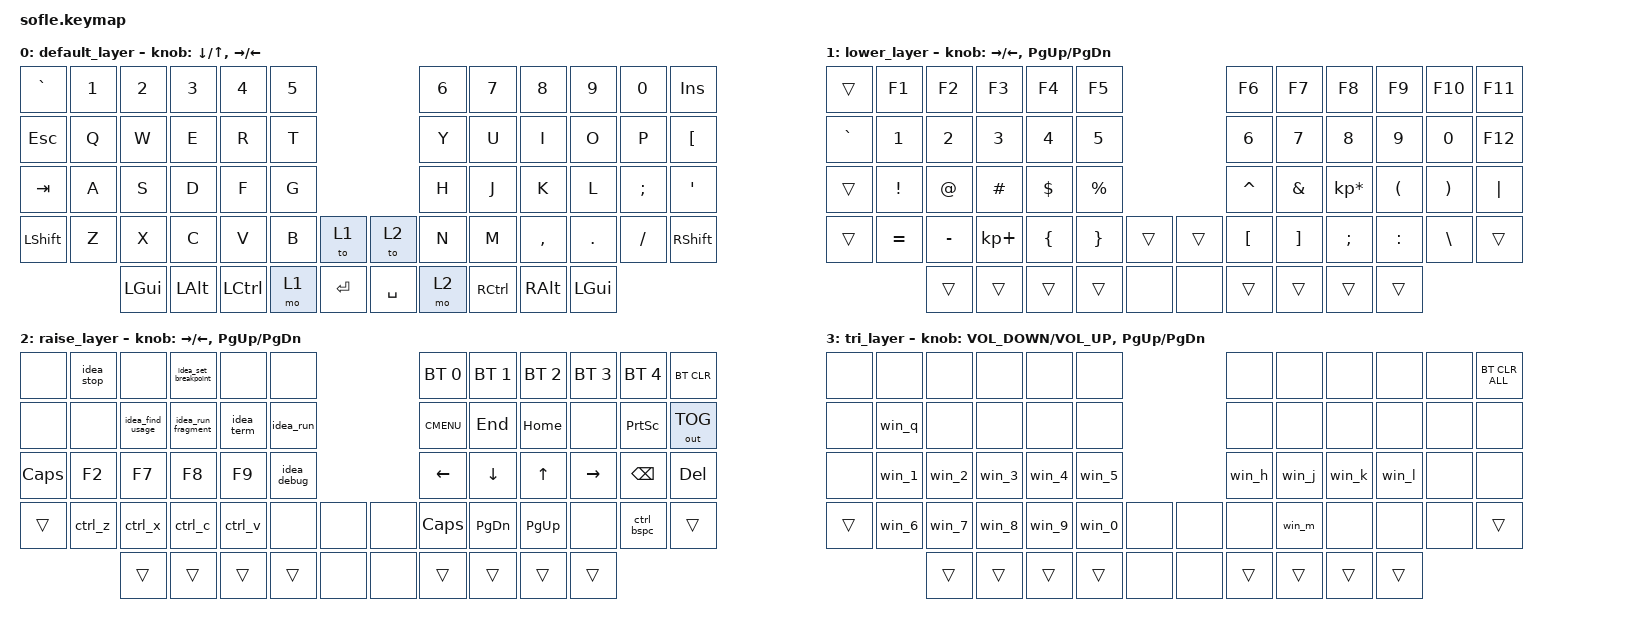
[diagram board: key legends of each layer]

 /*
 * Copyright (c) 2020 The ZMK Contributors
 *
 * SPDX-License-Identifier: MIT
 */

#include <behaviors.dtsi>
#include <dt-bindings/zmk/keys.h>
#include <dt-bindings/zmk/bt.h>
#include <dt-bindings/zmk/outputs.h>

&left_encoder { resolution = <8>; };
&right_encoder { resolution = <8>; };

/ {
    conditional_layers {
        compatible = "zmk,conditional-layers";
        tri_layer {
            if-layers = <1 2>;
            then-layer = <3>;
        };
    };
};

/ {
    macros {
        idea_debug: idea_debug {
                label = "IDEA_debug";
                compatible = "zmk,behavior-macro";
                #binding-cells = <0>;
                wait-ms = <40>;
                tap-ms = <40>;
                bindings
                    = <&macro_press &kp LSHFT>
                    , <&macro_press &kp LALT>
                    , <&macro_tap &kp F9>
                    , <&macro_release &kp LSHFT>
                    , <&macro_release &kp LALT>
                    ;
        };

        idea_run: idea_run {
                label = "IDEA_run";
                compatible = "zmk,behavior-macro";
                #binding-cells = <0>;
                wait-ms = <40>;
                tap-ms = <40>;
                bindings
                    = <&macro_press &kp LSHFT>
                    , <&macro_press &kp LALT>
                    , <&macro_tap &kp F10>
                    , <&macro_release &kp LSHFT>
                    , <&macro_release &kp LALT>
                    ;
        };

        idea_run_fragment: idea_run_fragment {
                label = "IDEA_run_fragment";
                compatible = "zmk,behavior-macro";
                #binding-cells = <0>;
                wait-ms = <40>;
                tap-ms = <40>;
                bindings
                    = <&macro_press &kp LALT>
                    , <&macro_tap &kp F8>
                    , <&macro_release &kp LALT>
                    ;
        };

        idea_set_breakpoint: idea_set_breakpoint {
                label = "IDEA_set_breakpoint";
                compatible = "zmk,behavior-macro";
                #binding-cells = <0>;
                wait-ms = <40>;
                tap-ms = <40>;
                bindings
                    = <&macro_press &kp LCTRL>
                    , <&macro_tap &kp F8>
                    , <&macro_release &kp LCTRL>
                    ;
        };

        idea_stop: idea_stop {
                label = "IDEA_stop";
                compatible = "zmk,behavior-macro";
                #binding-cells = <0>;
                wait-ms = <40>;
                tap-ms = <40>;
                bindings
                    = <&macro_press &kp LCTRL>
                    , <&macro_tap &kp F2>
                    , <&macro_release &kp LCTRL>
                    ;
        };

        idea_term: idea_term {
                label = "IDEA_term";
                compatible = "zmk,behavior-macro";
                #binding-cells = <0>;
                wait-ms = <40>;
                tap-ms = <40>;
                bindings
                    = <&macro_press &kp LALT>
                    , <&macro_tap &kp F12>
                    , <&macro_release &kp LALT>
                    ;
        };

         idea_find_usage: idea_find_usage {
                label = "IDEA_find_usage";
                compatible = "zmk,behavior-macro";
                #binding-cells = <0>;
                wait-ms = <40>;
                tap-ms = <40>;
                bindings
                    = <&macro_press &kp LALT>
                    , <&macro_tap &kp F7>
                    , <&macro_release &kp LALT>
                    ;
         };


        ctrl_z: ctrl_z {
                    label = "ctrl_z";
                    compatible = "zmk,behavior-macro";
                    #binding-cells = <0>;
                    wait-ms = <40>;
                    tap-ms = <40>;
                    bindings
                        = <&macro_press &kp LCTRL>
                        , <&macro_tap &kp Z>
                        , <&macro_release &kp LCTRL>
                        ;
        };


        ctrl_x: ctrl_x {
                    label = "ctrl_x";
                    compatible = "zmk,behavior-macro";
                    #binding-cells = <0>;
                    wait-ms = <40>;
                    tap-ms = <40>;
                    bindings
                        = <&macro_press &kp LCTRL>
                        , <&macro_tap &kp X>
                        , <&macro_release &kp LCTRL>
                        ;
        };


        ctrl_c: ctrl_c {
                    label = "ctrl_c";
                    compatible = "zmk,behavior-macro";
                    #binding-cells = <0>;
                    wait-ms = <40>;
                    tap-ms = <40>;
                    bindings
                        = <&macro_press &kp LCTRL>
                        , <&macro_tap &kp C>
                        , <&macro_release &kp LCTRL>
                        ;
        };


        ctrl_v: ctrl_v {
                    label = "ctrl_v";
                    compatible = "zmk,behavior-macro";
                    #binding-cells = <0>;
                    wait-ms = <40>;
                    tap-ms = <40>;
                    bindings
                        = <&macro_press &kp LCTRL>
                        , <&macro_tap &kp V>
                        , <&macro_release &kp LCTRL>
                        ;
        };

        ctrl_bspc: ctrl_bspc {
                    label = "ctrl_bspc";
                    compatible = "zmk,behavior-macro";
                    #binding-cells = <0>;
                    wait-ms = <40>;
                    tap-ms = <40>;
                    bindings
                        = <&macro_press &kp LCTRL>
                        , <&macro_tap &kp  BSPC>
                        , <&macro_release &kp LCTRL>
                        ;
        };

        ctrl_del: ctrl_del {
                    label = "ctrl_del";
                    compatible = "zmk,behavior-macro";
                    #binding-cells = <0>;
                    wait-ms = <40>;
                    tap-ms = <40>;
                    bindings
                        = <&macro_press &kp LCTRL>
                        , <&macro_tap &kp  DEL>
                        , <&macro_release &kp LCTRL>
                        ;
        };


        win_1: win_1 {
                    label = "win_1";
                    compatible = "zmk,behavior-macro";
                    #binding-cells = <0>;
                    wait-ms = <40>;
                    tap-ms = <40>;
                    bindings
                        = <&macro_press &kp LGUI>
                        , <&macro_tap &kp  N1>
                        , <&macro_release &kp LGUI>
                        ;
        };

        win_2: win_2 {
                    label = "win_2";
                    compatible = "zmk,behavior-macro";
                    #binding-cells = <0>;
                    wait-ms = <40>;
                    tap-ms = <40>;
                    bindings
                        = <&macro_press &kp LGUI>
                        , <&macro_tap &kp  N2>
                        , <&macro_release &kp LGUI>
                        ;
        };

        win_3: win_3 {
                    label = "win_3";
                    compatible = "zmk,behavior-macro";
                    #binding-cells = <0>;
                    wait-ms = <40>;
                    tap-ms = <40>;
                    bindings
                        = <&macro_press &kp LGUI>
                        , <&macro_tap &kp  N3>
                        , <&macro_release &kp LGUI>
                        ;
        };

        win_4: win_4 {
                    label = "win_4";
                    compatible = "zmk,behavior-macro";
                    #binding-cells = <0>;
                    wait-ms = <40>;
                    tap-ms = <40>;
                    bindings
                        = <&macro_press &kp LGUI>
                        , <&macro_tap &kp  N4>
                        , <&macro_release &kp LGUI>
                        ;
        };

        win_5: win_5 {
                    label = "win_5";
                    compatible = "zmk,behavior-macro";
                    #binding-cells = <0>;
                    wait-ms = <40>;
                    tap-ms = <40>;
                    bindings
                        = <&macro_press &kp LGUI>
                        , <&macro_tap &kp  N5>
                        , <&macro_release &kp LGUI>
                        ;
        };

        win_6: win_6 {
                    label = "win_6";
                    compatible = "zmk,behavior-macro";
                    #binding-cells = <0>;
                    wait-ms = <40>;
                    tap-ms = <40>;
                    bindings
                        = <&macro_press &kp LGUI>
                        , <&macro_tap &kp  N6>
                        , <&macro_release &kp LGUI>
                        ;
        };


        win_7: win_7 {
                    label = "win_7";
                    compatible = "zmk,behavior-macro";
                    #binding-cells = <0>;
                    wait-ms = <40>;
                    tap-ms = <40>;
                    bindings
                        = <&macro_press &kp LGUI>
                        , <&macro_tap &kp  N7>
                        , <&macro_release &kp LGUI>
                        ;
        };


        win_8: win_8 {
                    label = "win_8";
                    compatible = "zmk,behavior-macro";
                    #binding-cells = <0>;
                    wait-ms = <40>;
                    tap-ms = <40>;
                    bindings
                        = <&macro_press &kp LGUI>
                        , <&macro_tap &kp  N8>
                        , <&macro_release &kp LGUI>
                        ;
        };

        win_9: win_9 {
                    label = "win_9";
                    compatible = "zmk,behavior-macro";
                    #binding-cells = <0>;
                    wait-ms = <40>;
                    tap-ms = <40>;
                    bindings
                        = <&macro_press &kp LGUI>
                        , <&macro_tap &kp  N9>
                        , <&macro_release &kp LGUI>
                        ;
        };

        win_0: win_0 {
                    label = "win_0";
                    compatible = "zmk,behavior-macro";
                    #binding-cells = <0>;
                    wait-ms = <40>;
                    tap-ms = <40>;
                    bindings
                        = <&macro_press &kp LGUI>
                        , <&macro_tap &kp  N0>
                        , <&macro_release &kp LGUI>
                        ;
        };

        win_q: win_q {
                    label = "win_q";
                    compatible = "zmk,behavior-macro";
                    #binding-cells = <0>;
                    wait-ms = <40>;
                    tap-ms = <40>;
                    bindings
                        = <&macro_press &kp LGUI>
                        , <&macro_tap &kp Q>
                        , <&macro_release &kp LGUI>
                        ;
        };

        win_m: win_m {
                    label = "win_m";
                    compatible = "zmk,behavior-macro";
                    #binding-cells = <0>;
                    wait-ms = <40>;
                    tap-ms = <40>;
                    bindings
                        = <&macro_press &kp LGUI>
                        , <&macro_tap &kp M>
                        , <&macro_release &kp LGUI>
                        ;
        };

        win_h: win_h {
                    label = "win_h";
                    compatible = "zmk,behavior-macro";
                    #binding-cells = <0>;
                    wait-ms = <40>;
                    tap-ms = <40>;
                    bindings
                        = <&macro_press &kp LGUI>
                        , <&macro_tap &kp H>
                        , <&macro_release &kp LGUI>
                        ;
        };

        win_j: win_j {
                    label = "win_j";
                    compatible = "zmk,behavior-macro";
                    #binding-cells = <0>;
                    wait-ms = <40>;
                    tap-ms = <40>;
                    bindings
                        = <&macro_press &kp LGUI>
                        , <&macro_tap &kp J>
                        , <&macro_release &kp LGUI>
                        ;
        };



        win_k: win_k {
                    label = "win_k";
                    compatible = "zmk,behavior-macro";
                    #binding-cells = <0>;
                    wait-ms = <40>;
                    tap-ms = <40>;
                    bindings
                        = <&macro_press &kp LGUI>
                        , <&macro_tap &kp K>
                        , <&macro_release &kp LGUI>
                        ;
        };


        win_l: win_l {
                    label = "win_l";
                    compatible = "zmk,behavior-macro";
                    #binding-cells = <0>;
                    wait-ms = <40>;
                    tap-ms = <40>;
                    bindings
                        = <&macro_press &kp LGUI>
                        , <&macro_tap &kp L>
                        , <&macro_release &kp LGUI>
                        ;
        };


    };
};



/ {
    keymap {
        compatible = "zmk,keymap";

        default_layer {
// ------------------------------------------------------------------------------------------------------------
// |  `       |  1  |  2  |  3   |  4   |  5   |                           |  6   |  7    |  8    |  9   |   0   | INS        |
// |  ESC     |  Q  |  W  |  E   |  R   |  T   |                           |  Y   |  U    |  I    |  O   |   P   |  [         |
// |  TAB     |  A  |  S  |  D   |  F   |  G   |                           |  H   |  J    |  K    |  L   |   ;   |   '        |
// | SHFT|CPL |  Z  |  X  |  C   |  V   |  B   |        |         |        |  N   |  M    |  ,    |  .   |   /   | LSHFT      |
//               |LGUI    | ALT  | CTRL   | 2  |  RET   |         | SPACE  | SPACE| CTRL  | ALT   | LGUI |
            bindings = <
&kp GRAVE      &kp N1 &kp N2   &kp N3   &kp N4    &kp N5                                &kp N6       &kp N7    &kp N8    &kp N9   &kp N0   &kp INS
&kp ESC        &kp Q  &kp W    &kp E    &kp R     &kp T                                 &kp Y        &kp U     &kp I     &kp O    &kp P    &kp LBKT
&kp TAB        &kp A  &kp S    &kp D    &kp F     &kp G                                 &kp H        &kp J     &kp K     &kp L    &kp SEMI &kp SQT
&kp LSHFT      &kp Z  &kp X    &kp C    &kp V     &kp B     &to 1          &to 2        &kp N        &kp M     &kp COMMA &kp DOT  &kp FSLH &kp RSHFT
                      &kp LGUI &kp LALT &kp LCTRL &mo 1 &kp RET            &kp SPACE    &mo 2        &kp RCTRL &kp RALT  &kp LGUI
            >;

            sensor-bindings = <&inc_dec_kp DOWN UP &inc_dec_kp RIGHT LEFT>;
        };

        lower_layer {
// TODO: Some binds are waiting for shifted keycode support.
// ------------------------------------------------------------------------------------------------------------
// |       |  F1 |  F2 |  F3  |  F4  |  F5  |                   |  F6  |  F7   |  F8   |  F9  |  F10  |  F11  |
// | `     |   1 |   2 |   3  |   4  |   5  |                   |   6  |   7   |   8   |   9  |    0  |  F12  |
// |       |  !  |  @  |  #   |  $   |  %   |                   |  ^   |  &    |  *    |  (   |   )   |   |   |
// |       |  =  |  -  |  +   |  {   |  }   |        |  |       |  [   |  ]    |  ;    |  :   |   \   |       |
//               |     |      |      |      |        |  |       |      |       |       |      |
            bindings = <
&trans    &kp F1    &kp F2    &kp F3      &kp F4    &kp F5                    &kp F6    &kp F7   &kp F8          &kp F9    &kp F10   &kp F11
&kp GRAVE &kp N1    &kp N2    &kp N3      &kp N4    &kp N5                    &kp N6    &kp N7   &kp N8          &kp N9    &kp N0    &kp F12
&trans    &kp EXCL  &kp AT    &kp HASH    &kp DLLR  &kp PRCNT                 &kp CARET &kp AMPS &kp KP_MULTIPLY &kp LPAR  &kp RPAR  &kp PIPE
&trans    &kp EQUAL &kp MINUS &kp KP_PLUS &kp LBRC  &kp RBRC  &trans   &trans &kp LBKT  &kp RBKT &kp SEMI        &kp COLON &kp BSLH  &trans
                    &trans    &trans      &trans    &trans    &none    &none  &trans    &trans   &trans          &trans
            >;

            sensor-bindings = <&inc_dec_kp RIGHT LEFT &inc_dec_kp PG_UP PG_DN>;
        };

        raise_layer {// layer for intellij idea
// ------------------------------------------------------------------------------------------------------------
// |     |  stop  |       |set_brpn |        |        |                | BT1   | BT2   |  BT3  | BT4 |OUT_TOG| BT_CLR|
// |     |        |fnd_usg| run_frm | term   |i_run   |                | K_CMENU| End   | Home |     | PSCR  |OUT_TOG|
// |CLCK |  F2   | F7    |  F8    | F9       |i_debug |                |  <-   |  v    |   ^  |  ->  | BKSPC |  DEL  |
//       |ctrl_z |ctrl_x | ctrl_c | ctrl_v   |        |     |  |       | SPSL  |PG_DOWN| PGUP |      |C_BKSPC|       |
//       |       |       |        |          |        |     |  |       |       |      |       |      |       |
            bindings = <
&none      &idea_stop   &none              &idea_set_breakpoint   &none        &none                          &bt BT_SEL 0 &bt BT_SEL 1 &bt BT_SEL 2 &bt BT_SEL 3 &bt BT_SEL 4   &bt BT_CLR
&none      &none        &idea_find_usage   &idea_run_fragment     &idea_term   &idea_run                      &kp K_CMENU  &kp END      &kp HOME     &none        &kp PSCRN      &out OUT_TOG
&kp CLCK   &kp F2       &kp F7             &kp F8                 &kp F9       &idea_debug                    &kp LEFT     &kp DOWN     &kp UP       &kp RIGHT    &kp BSPC       &kp DEL
&trans     &ctrl_z      &ctrl_x            &ctrl_c                &ctrl_v      &none         &none    &none   &kp CLCK     &kp PG_DN    &kp PG_UP    &none        &ctrl_bspc     &trans
                        &trans             &trans                 &trans       &trans        &none    &none   &trans       &trans       &trans       &trans
            >;

            sensor-bindings = <&inc_dec_kp RIGHT LEFT &inc_dec_kp PG_UP PG_DN>;
        };


     tri_layer {// layer for i3wm
// ------------------------------------------------------------------------------------------------------------
// |     |       |       |        |        |        |                |       |       |         |        |      |BT_CLR_ALL|
// |     | win_q |       |        |        |        |                |       |       |         |        |      |       |
// |     | win1  | win2  |  win3  | win4   |  win5  |                | win_h | win_j |  win_k  | win_l  |      |       |
//       | win6  |  win7 |  win8  | win9   |  win0  |     |  |       |       |       |         |        |      |       |
//       |       |       |        |        |        |     |  |       |       | win_m |         |        |      |
            bindings = <
&none      &none        &none              &none                  &none        &none                             &none     &none    &none     &none     &none     &bt BT_CLR_ALL
&none      &win_q       &none              &none                  &none        &none                             &none     &none    &none     &none     &none     &none
&none      &win_1       &win_2             &win_3                 &win_4       &win_5                            &win_h    &win_j   &win_k    &win_l    &none     &none
&trans     &win_6       &win_7             &win_8                 &win_9       &win_0        &none    &none      &none     &win_m   &none     &none     &none     &trans
                        &trans             &trans                 &trans       &trans        &none    &none      &trans    &trans   &trans    &trans
            >;

            sensor-bindings = <&inc_dec_kp K_VOLUME_DOWN K_VOLUME_UP &inc_dec_kp PG_UP PG_DN>;
        };

    };
};
